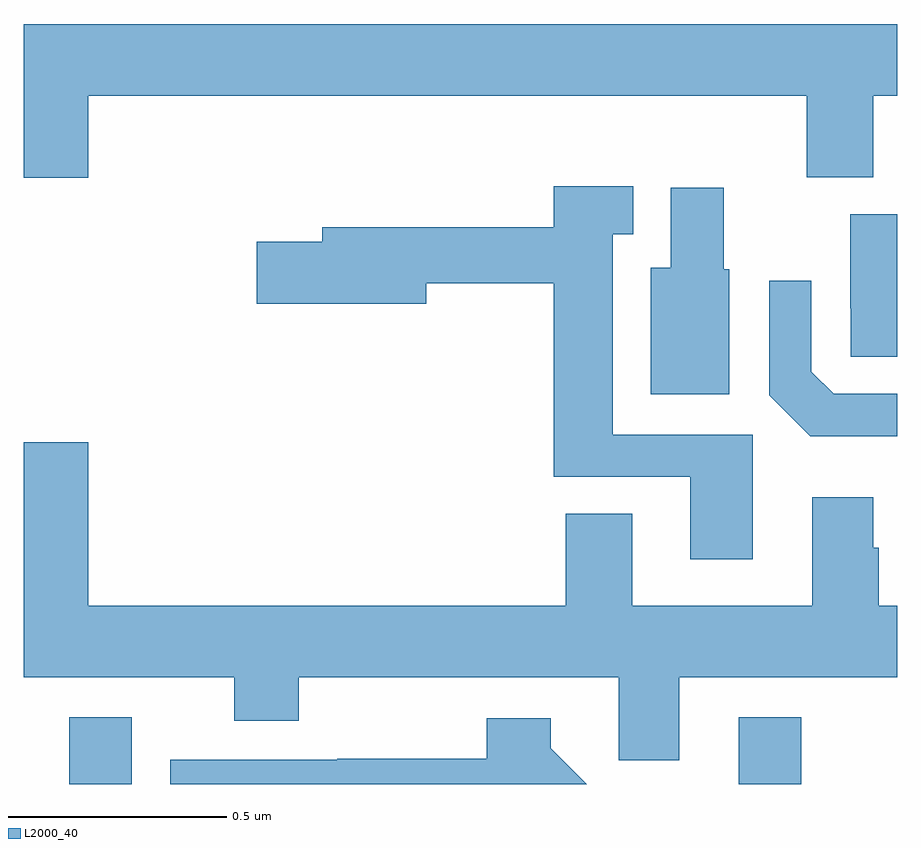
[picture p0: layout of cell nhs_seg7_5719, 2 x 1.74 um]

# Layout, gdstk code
import gdstk
lib = gdstk.Library(unit=1e-6, precision=1e-09)
def R(c, l, rs):  # rectangles x0, y0, x1, y1
    for r in rs: c.add(gdstk.rectangle(r[:2], r[2:], *l))
def P(c, l, *ps):  # polygons
    for p in ps: c.add(gdstk.Polygon(p, *l))
L2000_40 = (2000, 40)

nhs_seg7_5719 = lib.new_cell('nhs_seg7_5719')
R(nhs_seg7_5719, L2000_40, [(189.104,1039,189.247,1039.153), (190.637,1039,190.78,1039.153)])
P(nhs_seg7_5719, L2000_40, [(189.148,1040.576),(190.793,1040.576),(190.793,1040.389),(190.945,1040.389),(190.945,1040.576),(191,1040.576),(191,1040.74),(189,1040.74),(189,1040.388),(189.148,1040.388)],
  [(190.669,1039.8),(190.348,1039.8),(190.348,1040.259),(190.396,1040.259),(190.396,1040.369),(190.214,1040.369),(190.214,1040.275),(189.683,1040.275),(189.683,1040.241),(189.534,1040.241),(189.534,1040.099),(189.922,1040.099),(189.922,1040.146),(190.214,1040.146),(190.214,1039.704),(190.526,1039.704),(190.526,1039.515),(190.669,1039.515)],
  [(190.615,1040.178),(190.603,1040.178),(190.603,1040.365),(190.481,1040.365),(190.481,1040.182),(190.436,1040.182),(190.436,1039.892),(190.615,1039.892)],
  [(191,1040.304),(190.892,1040.304),(190.892,1040.089),(190.893,1040.089),(190.893,1039.978),(191,1039.978)],
  [(191,1039.893),(190.854,1039.893),(190.803,1039.944),(190.803,1040.152),(190.707,1040.152),(190.707,1039.89),(190.801,1039.796),(191,1039.796)],
  [(190.501,1039.244),(191,1039.244),(191,1039.408),(190.958,1039.408),(190.958,1039.541),(190.945,1039.541),(190.945,1039.657),(190.805,1039.657),(190.805,1039.408),(190.393,1039.408),(190.393,1039.619),(190.241,1039.619),(190.241,1039.408),(189.148,1039.408),(189.148,1039.783),(189,1039.783),(189,1039.244),(189.482,1039.244),(189.482,1039.145),(189.63,1039.145),(189.63,1039.244),(190.362,1039.244),(190.362,1039.054),(190.501,1039.054)],
  [(190.207,1039.082),(190.207,1039.15),(190.06,1039.15),(190.06,1039.058),(189.718,1039.058),(189.718,1039.056),(189.336,1039.056),(189.336,1039),(190.289,1039)])

lib.write_gds('nhs_seg7_5719.gds')
